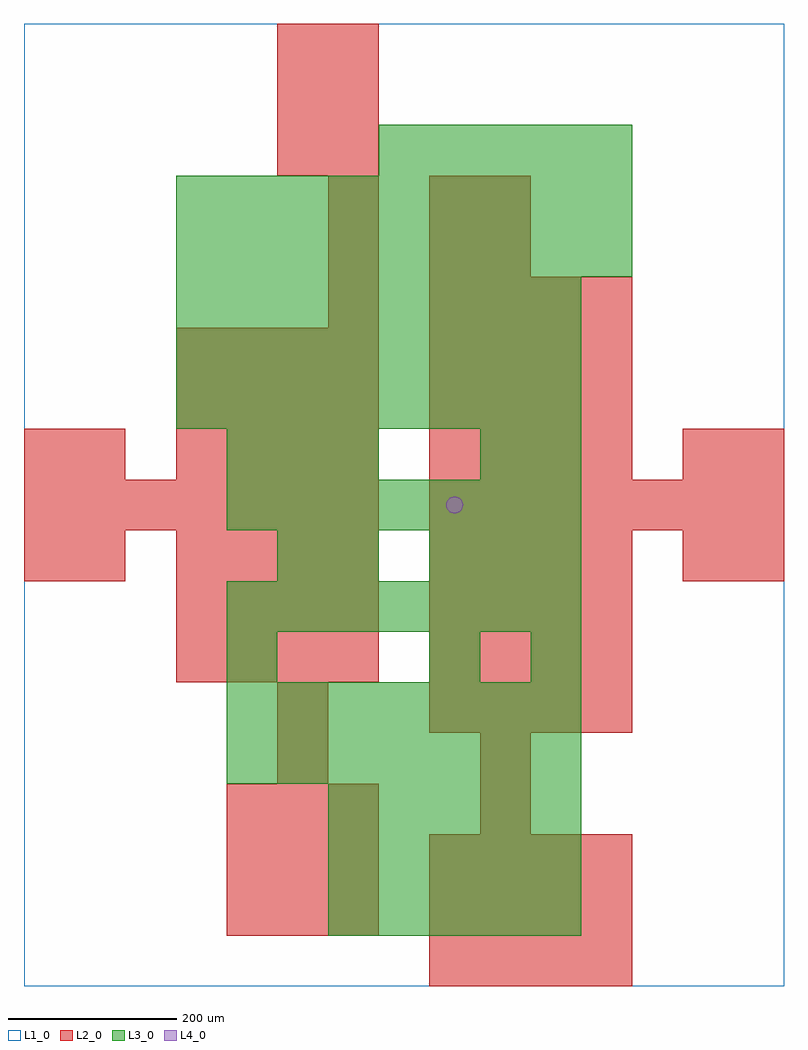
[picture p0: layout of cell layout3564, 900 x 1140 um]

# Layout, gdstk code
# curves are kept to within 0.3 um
import gdstk
lib = gdstk.Library(unit=1e-6, precision=1e-09)
def R(c, l, rs):  # rectangles x0, y0, x1, y1
    for r in rs: c.add(gdstk.rectangle(r[:2], r[2:], *l))
def A(c, l, x, y, w, h, nx, ny, dx, dy):  # array of equal rectangles
    R(c, l, [(x+i*dx, y+j*dy, x+i*dx+w, y+j*dy+h) for i in range(nx) for j in range(ny)])
def P(c, l, *ps):  # polygons
    for p in ps: c.add(gdstk.Polygon(p, *l))
L1_0 = (1, 0)
L2_0 = (2, 0)
L3_0 = (3, 0)
L4_0 = (4, 0)

layout3564 = lib.new_cell('layout3564')
R(layout3564, L1_0, [(0,0,900,1140)])
A(layout3564, L2_0, 480, 0, 60, 60, 4, 3, 60, 60)
A(layout3564, L2_0, 240, 60, 60, 60, 3, 3, 60, 60)
A(layout3564, L2_0, 480, 300, 60, 60, 4, 4, 60, 60)
A(layout3564, L2_0, 180, 360, 60, 60, 4, 3, 60, 60)
A(layout3564, L2_0, 0, 540, 60, 60, 7, 1, 60, 0)
A(layout3564, L2_0, 480, 540, 60, 60, 7, 1, 60, 0)
A(layout3564, L2_0, 180, 600, 60, 60, 4, 3, 60, 60)
A(layout3564, L2_0, 480, 600, 60, 60, 4, 4, 60, 60)
A(layout3564, L2_0, 360, 780, 60, 60, 1, 6, 0, 60)
A(layout3564, L2_0, 300, 960, 60, 60, 1, 3, 0, 60)
R(layout3564, L2_0, [(540,180,600,240), (300,240,360,300), (540,240,600,300), (300,300,360,360), (0,480,60,540), (60,480,120,540), (780,480,840,540), (840,480,900,540), (0,600,60,660), (60,600,120,660), (780,600,840,660), (840,600,900,660), (480,840,540,900), (540,840,600,900), (480,900,540,960), (540,900,600,960)])
A(layout3564, L3_0, 360, 60, 60, 60, 5, 3, 60, 60)
A(layout3564, L3_0, 240, 240, 60, 60, 7, 2, 60, 60)
A(layout3564, L3_0, 240, 420, 60, 60, 7, 2, 60, 120)
A(layout3564, L3_0, 480, 480, 60, 60, 3, 1, 60, 0)
A(layout3564, L3_0, 240, 600, 60, 60, 3, 1, 60, 0)
A(layout3564, L3_0, 180, 660, 60, 60, 8, 3, 60, 60)
A(layout3564, L3_0, 180, 840, 60, 60, 9, 2, 60, 60)
A(layout3564, L3_0, 420, 960, 60, 60, 5, 1, 60, 0)
R(layout3564, L3_0, [(240,360,300,420), (480,360,540,420), (600,360,660,420), (300,480,360,540), (360,480,420,540), (540,600,600,660), (600,600,660,660)])
P(layout3564, L4_0, [(520,570),(519.239,573.827),(517.071,577.071),(513.827,579.239),(510,580),(506.173,579.239),(502.929,577.071),(500.761,573.827),(500,570),(500.761,566.173),(502.929,562.929),(506.173,560.761),(510,560),(513.827,560.761),(517.071,562.929),(519.239,566.173)])

lib.write_gds('layout3564.gds')
